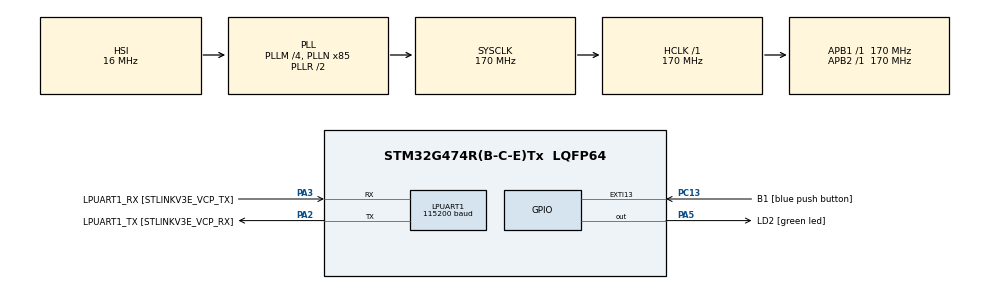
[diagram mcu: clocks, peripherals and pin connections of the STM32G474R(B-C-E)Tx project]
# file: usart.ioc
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Dma.LPUART1_RX.0.Direction=DMA_PERIPH_TO_MEMORY
Dma.LPUART1_RX.0.EventEnable=DISABLE
Dma.LPUART1_RX.0.Instance=DMA1_Channel1
Dma.LPUART1_RX.0.MemDataAlignment=DMA_MDATAALIGN_BYTE
Dma.LPUART1_RX.0.MemInc=DMA_MINC_ENABLE
Dma.LPUART1_RX.0.Mode=DMA_CIRCULAR
Dma.LPUART1_RX.0.PeriphDataAlignment=DMA_PDATAALIGN_BYTE
Dma.LPUART1_RX.0.PeriphInc=DMA_PINC_DISABLE
Dma.LPUART1_RX.0.Polarity=HAL_DMAMUX_REQ_GEN_RISING
Dma.LPUART1_RX.0.Priority=DMA_PRIORITY_LOW
Dma.LPUART1_RX.0.RequestNumber=1
Dma.LPUART1_RX.0.SignalID=NONE
Dma.LPUART1_RX.0.SyncEnable=DISABLE
Dma.LPUART1_RX.0.SyncPolarity=HAL_DMAMUX_SYNC_NO_EVENT
Dma.LPUART1_RX.0.SyncRequestNumber=1
Dma.LPUART1_RX.0.SyncSignalID=NONE
Dma.LPUART1_TX.1.Direction=DMA_MEMORY_TO_PERIPH
Dma.LPUART1_TX.1.EventEnable=DISABLE
Dma.LPUART1_TX.1.Instance=DMA1_Channel2
Dma.LPUART1_TX.1.MemDataAlignment=DMA_MDATAALIGN_BYTE
Dma.LPUART1_TX.1.MemInc=DMA_MINC_ENABLE
Dma.LPUART1_TX.1.Mode=DMA_NORMAL
Dma.LPUART1_TX.1.PeriphDataAlignment=DMA_PDATAALIGN_BYTE
Dma.LPUART1_TX.1.PeriphInc=DMA_PINC_DISABLE
Dma.LPUART1_TX.1.Polarity=HAL_DMAMUX_REQ_GEN_RISING
Dma.LPUART1_TX.1.Priority=DMA_PRIORITY_LOW
Dma.LPUART1_TX.1.RequestNumber=1
Dma.LPUART1_TX.1.SignalID=NONE
Dma.LPUART1_TX.1.SyncEnable=DISABLE
Dma.LPUART1_TX.1.SyncPolarity=HAL_DMAMUX_SYNC_NO_EVENT
Dma.LPUART1_TX.1.SyncRequestNumber=1
Dma.LPUART1_TX.1.SyncSignalID=NONE
Dma.Request0=LPUART1_RX
Dma.Request1=LPUART1_TX
LPUART1.BaudRate=115200
LPUART1.WordLength=UART_WORDLENGTH_8B
Mcu.Family=STM32G4
Mcu.Name=STM32G474R(B-C-E)Tx
Mcu.Package=LQFP64
NVIC.DMA1_Channel1_IRQn=true\:0\:0\:false\:true\:true\:1\:false\:true\:true
NVIC.DMA1_Channel2_IRQn=true\:0\:0\:false\:true\:true\:2\:false\:true\:true
NVIC.EXTI15_10_IRQn=true\:0\:0\:false\:false\:true\:true\:true\:true
NVIC.LPUART1_IRQn=true\:0\:0\:false\:true\:true\:3\:true\:true\:true
NVIC.PriorityGroup=NVIC_PRIORITYGROUP_4
PA13.GPIO_Label=T_SWDIO
PA13.Mode=Serial_Wire
PA13.Signal=SYS_JTMS-SWDIO
PA14.GPIO_Label=T_SWCLK
PA14.Mode=Serial_Wire
PA14.Signal=SYS_JTCK-SWCLK
PA2.GPIO_Label=LPUART1_TX [STLINKV3E_VCP_RX]
PA2.Mode=Asynchronous
PA2.Signal=LPUART1_TX
PA3.GPIO_Label=LPUART1_RX [STLINKV3E_VCP_TX]
PA3.Mode=Asynchronous
PA3.Signal=LPUART1_RX
PA5.GPIO_Label=LD2 [green led]
PA5.Signal=GPIO_Output
PB3.GPIO_Label=T_SWO
PB3.Signal=SYS_JTDO-SWO
PC13.GPIO_Label=B1 [blue push button]
PC13.Signal=GPXTI13
PC14-OSC32_IN.Mode=LSE-External-Oscillator
PC14-OSC32_IN.Signal=RCC_OSC32_IN
PC15-OSC32_OUT.Mode=LSE-External-Oscillator
PC15-OSC32_OUT.Signal=RCC_OSC32_OUT
PF0-OSC_IN.Mode=HSE-External-Oscillator
PF0-OSC_IN.Signal=RCC_OSC_IN
PF1-OSC_OUT.Mode=HSE-External-Oscillator
PF1-OSC_OUT.Signal=RCC_OSC_OUT
ProjectManager.HeapSize=0x200
ProjectManager.StackSize=0x400
ProjectManager.TargetToolchain=STM32CubeIDE
RCC.ADC12Freq_Value=170000000
RCC.ADC345Freq_Value=170000000
RCC.AHBFreq_Value=170000000
RCC.APB1Freq_Value=170000000
RCC.APB1TimFreq_Value=170000000
RCC.APB2Freq_Value=170000000
RCC.APB2TimFreq_Value=170000000
RCC.CortexFreq_Value=170000000
RCC.EXTERNAL_CLOCK_VALUE=12288000
RCC.HCLKFreq_Value=170000000
RCC.HSE_VALUE=24000000
RCC.HSI48_VALUE=48000000
RCC.HSI_VALUE=16000000
RCC.PLLM=RCC_PLLM_DIV4
RCC.PLLN=85
RCC.RTCClockSelection=RCC_RTCCLKSOURCE_LSE
RCC.SYSCLKFreq_VALUE=170000000
RCC.SYSCLKSource=RCC_SYSCLKSOURCE_PLLCLK
RCC.USBFreq_Value=170000000
RCC.VCOOutputFreq_Value=340000000
VP_SYS_VS_DBSignals.Mode=DisableDeadBatterySignals
board=NUCLEO-G474RE

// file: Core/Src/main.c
/* USER CODE BEGIN Header */
/**
  ******************************************************************************
  * @file           : main.c
  * @brief          : Main program body
  ******************************************************************************
  * @attention
  *
  * Copyright (c) 2025 STMicroelectronics.
  * All rights reserved.
  *
  * This software is licensed under terms that can be found in the LICENSE file
  * in the root directory of this software component.
  * If no LICENSE file comes with this software, it is provided AS-IS.
  *
  ******************************************************************************
  */
/* USER CODE END Header */
#include "main.h"

/* USER CODE BEGIN Includes */
#include <string.h>
#include "ring_buf.h"
#include "usart_dma.h"
/* USER CODE END Includes */

UART_HandleTypeDef hlpuart1;
DMA_HandleTypeDef hdma_lpuart1_rx;
DMA_HandleTypeDef hdma_lpuart1_tx;

void SystemClock_Config(void);
static void MX_GPIO_Init(void);
static void MX_DMA_Init(void);
static void MX_LPUART1_UART_Init(void);
static void MX_NVIC_Init(void);

int main(void)
{

  /* MCU Configuration--------------------------------------------------------*/

  /* Reset of all peripherals, Initializes the Flash interface and the Systick. */
  HAL_Init();

  /* Configure the system clock */
  SystemClock_Config();

  /* Initialize all configured peripherals */
  MX_GPIO_Init();
  MX_DMA_Init();
  MX_LPUART1_UART_Init();

  /* Initialize interrupts */
  MX_NVIC_Init();
  /* USER CODE BEGIN 2 */
  uint8_t frameToSend[MAX_FRAME_SIZE];
  usart_dma_init(&hlpuart1);
  /* USER CODE END 2 */

  /* Infinite loop */
  while (1)
  {

    /* USER CODE BEGIN 3 */
	  volatile usartMessage_t message;
	  message = usart_dma_frameProcess();

//	   Data to send
	  usartMessage_t dataToSend = {
	  				  .addr = 1,
	  				  .arg = 2,
	  				  .cmd = 3,
	  };
//	  memcpy(dataToSend.payload, "HelloWorld", sizeof("HelloWorld"));
//	  dataToSend.len = sizeof("HelloWorld");
	  for (uint8_t z = 0; z < MAX_PAYLOAD_SIZE; z++) {
		  dataToSend.payload[z] = z;
	  }
	  dataToSend.len = MAX_PAYLOAD_SIZE;
//	   parse into frame
	  memset(frameToSend, 0, MAX_FRAME_SIZE);
	  uint8_t frameSize = frame_parser_create(frameToSend, &dataToSend);

//	   send over usart
	  usart_dma_SendFrame(frameToSend, frameSize);
//	  HAL_Delay(500);
  }
  /* USER CODE END 3 */
}

void SystemClock_Config(void)
{
  RCC_OscInitTypeDef RCC_OscInitStruct = {0};
  RCC_ClkInitTypeDef RCC_ClkInitStruct = {0};

  /** Configure the main internal regulator output voltage
  */
  HAL_PWREx_ControlVoltageScaling(PWR_REGULATOR_VOLTAGE_SCALE1_BOOST);

  /** Initializes the RCC Oscillators according to the specified parameters
  * in the RCC_OscInitTypeDef structure.
  */
  RCC_OscInitStruct.OscillatorType = RCC_OSCILLATORTYPE_HSI;
  RCC_OscInitStruct.HSIState = RCC_HSI_ON;
  RCC_OscInitStruct.HSICalibrationValue = RCC_HSICALIBRATION_DEFAULT;
  RCC_OscInitStruct.PLL.PLLState = RCC_PLL_ON;
  RCC_OscInitStruct.PLL.PLLSource = RCC_PLLSOURCE_HSI;
  RCC_OscInitStruct.PLL.PLLM = RCC_PLLM_DIV4;
  RCC_OscInitStruct.PLL.PLLN = 85;
  RCC_OscInitStruct.PLL.PLLP = RCC_PLLP_DIV2;
  RCC_OscInitStruct.PLL.PLLQ = RCC_PLLQ_DIV2;
  RCC_OscInitStruct.PLL.PLLR = RCC_PLLR_DIV2;
  if (HAL_RCC_OscConfig(&RCC_OscInitStruct) != HAL_OK)
  {
    Error_Handler();
  }

  /** Initializes the CPU, AHB and APB buses clocks
  */
  RCC_ClkInitStruct.ClockType = RCC_CLOCKTYPE_HCLK|RCC_CLOCKTYPE_SYSCLK
                              |RCC_CLOCKTYPE_PCLK1|RCC_CLOCKTYPE_PCLK2;
  RCC_ClkInitStruct.SYSCLKSource = RCC_SYSCLKSOURCE_PLLCLK;
  RCC_ClkInitStruct.AHBCLKDivider = RCC_SYSCLK_DIV1;
  RCC_ClkInitStruct.APB1CLKDivider = RCC_HCLK_DIV1;
  RCC_ClkInitStruct.APB2CLKDivider = RCC_HCLK_DIV1;

  if (HAL_RCC_ClockConfig(&RCC_ClkInitStruct, FLASH_LATENCY_4) != HAL_OK)
  {
    Error_Handler();
  }
}

/**
  * @brief NVIC Configuration.
  * @retval None
  */
static void MX_NVIC_Init(void)
{
  /* DMA1_Channel1_IRQn interrupt configuration */
  HAL_NVIC_SetPriority(DMA1_Channel1_IRQn, 0, 0);
  HAL_NVIC_EnableIRQ(DMA1_Channel1_IRQn);
  /* DMA1_Channel2_IRQn interrupt configuration */
  HAL_NVIC_SetPriority(DMA1_Channel2_IRQn, 0, 0);
  HAL_NVIC_EnableIRQ(DMA1_Channel2_IRQn);
  /* LPUART1_IRQn interrupt configuration */
  HAL_NVIC_SetPriority(LPUART1_IRQn, 0, 0);
  HAL_NVIC_EnableIRQ(LPUART1_IRQn);
}

static void MX_LPUART1_UART_Init(void)
{

  hlpuart1.Instance = LPUART1;
  hlpuart1.Init.BaudRate = 115200;
  hlpuart1.Init.WordLength = UART_WORDLENGTH_8B;
  hlpuart1.Init.StopBits = UART_STOPBITS_1;
  hlpuart1.Init.Parity = UART_PARITY_NONE;
  hlpuart1.Init.Mode = UART_MODE_TX_RX;
  hlpuart1.Init.HwFlowCtl = UART_HWCONTROL_NONE;
  hlpuart1.Init.OneBitSampling = UART_ONE_BIT_SAMPLE_DISABLE;
  hlpuart1.Init.ClockPrescaler = UART_PRESCALER_DIV1;
  hlpuart1.AdvancedInit.AdvFeatureInit = UART_ADVFEATURE_NO_INIT;
  if (HAL_UART_Init(&hlpuart1) != HAL_OK)
  {
    Error_Handler();
  }
  if (HAL_UARTEx_SetTxFifoThreshold(&hlpuart1, UART_TXFIFO_THRESHOLD_1_8) != HAL_OK)
  {
    Error_Handler();
  }
  if (HAL_UARTEx_SetRxFifoThreshold(&hlpuart1, UART_RXFIFO_THRESHOLD_1_8) != HAL_OK)
  {
    Error_Handler();
  }
  if (HAL_UARTEx_DisableFifoMode(&hlpuart1) != HAL_OK)
  {
    Error_Handler();
  }
  /* USER CODE BEGIN LPUART1_Init 2 */
  __HAL_UART_DISABLE(&hlpuart1);
  MODIFY_REG(hlpuart1.Instance->CR2, USART_CR2_ADD, (191 << USART_CR2_ADD_Pos));
  SET_BIT(hlpuart1.Instance->CR1, USART_CR1_CMIE);
  __HAL_UART_ENABLE(&hlpuart1);

  /* USER CODE END LPUART1_Init 2 */

}

static void MX_DMA_Init(void)
{

  /* DMA controller clock enable */
  __HAL_RCC_DMAMUX1_CLK_ENABLE();
  __HAL_RCC_DMA1_CLK_ENABLE();

}

static void MX_GPIO_Init(void)
{
  GPIO_InitTypeDef GPIO_InitStruct = {0};

  /* GPIO Ports Clock Enable */
  __HAL_RCC_GPIOC_CLK_ENABLE();
  __HAL_RCC_GPIOF_CLK_ENABLE();
  __HAL_RCC_GPIOA_CLK_ENABLE();
  __HAL_RCC_GPIOB_CLK_ENABLE();

  /*Configure GPIO pin Output Level */
  HAL_GPIO_WritePin(LD2_GPIO_Port, LD2_Pin, GPIO_PIN_RESET);

  /*Configure GPIO pin : B1_Pin */
  GPIO_InitStruct.Pin = B1_Pin;
  GPIO_InitStruct.Mode = GPIO_MODE_IT_RISING;
  GPIO_InitStruct.Pull = GPIO_NOPULL;
  HAL_GPIO_Init(B1_GPIO_Port, &GPIO_InitStruct);

  /*Configure GPIO pin : LD2_Pin */
  GPIO_InitStruct.Pin = LD2_Pin;
  GPIO_InitStruct.Mode = GPIO_MODE_OUTPUT_PP;
  GPIO_InitStruct.Pull = GPIO_NOPULL;
  GPIO_InitStruct.Speed = GPIO_SPEED_FREQ_LOW;
  HAL_GPIO_Init(LD2_GPIO_Port, &GPIO_InitStruct);

  /* EXTI interrupt init*/
  HAL_NVIC_SetPriority(EXTI15_10_IRQn, 0, 0);
  HAL_NVIC_EnableIRQ(EXTI15_10_IRQn);

}

void Error_Handler(void)
{
  __disable_irq();
  while (1)
  {
  }
}
